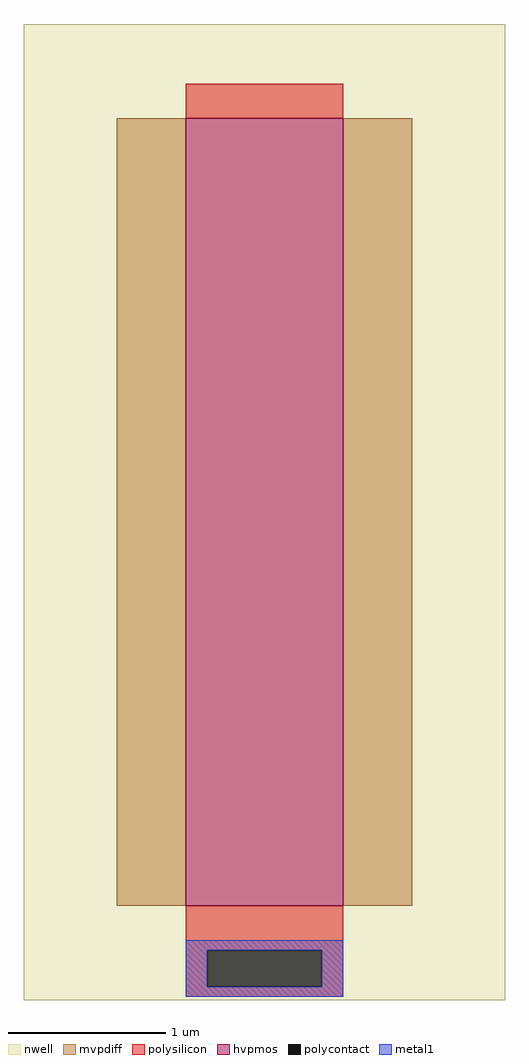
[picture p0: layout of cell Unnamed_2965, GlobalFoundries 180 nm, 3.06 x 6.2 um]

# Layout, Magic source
magic
tech gf180mcuD
magscale 1 10
<< nwell >>
rect -192 -120 420 1120
<< hvpmos >>
rect 14 0 214 1000
<< mvpdiff >>
rect -74 0 14 1000
rect 214 0 302 1000
<< polysilicon >>
rect 14 1000 214 1044
rect 14 -57 214 0
rect 14 -103 41 -57
rect 187 -103 214 -57
rect 14 -116 214 -103
<< polycontact >>
rect 41 -103 187 -57
<< metal1 >>
rect 14 -57 214 -44
rect 14 -103 41 -57
rect 187 -103 214 -57
rect 14 -116 214 -103
<< end >>
